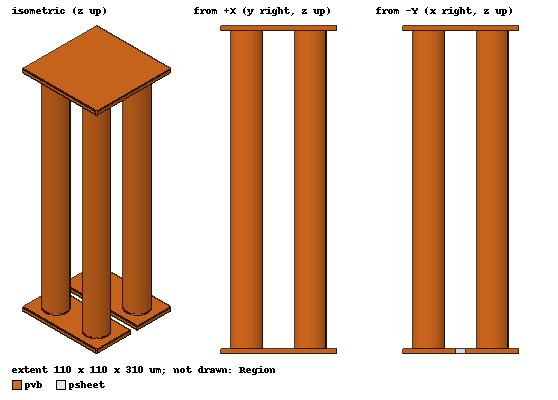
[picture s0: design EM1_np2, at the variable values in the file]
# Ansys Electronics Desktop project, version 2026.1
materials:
  vacuum: permittivity=1
  cu_src: permittivity=1 permeability=1 conductivity=58823529
  air: permittivity=1.0006 permeability=1.0000004
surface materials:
  Steel-oxidised-surface

design EM1_np2 (HFSS, HFSS Terminal Network, model units um)
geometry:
  vdd0 = cylinder(axis=Z, base_centre=(-30um, -30um, 0um), radius=15um, height=300um)
  gnd0 = cylinder(axis=Z, base_centre=(30um, -30um, 0um), radius=15um, height=300um)
  vdd1 = cylinder(axis=Z, base_centre=(-30um, 30um, 0um), radius=15um, height=300um)
  gnd1 = cylinder(axis=Z, base_centre=(30um, 30um, 0um), radius=15um, height=300um)
  pvb [cu_src, solve inside] = box(corner=(-55um, -55um, -5um), size=(50um, 110um, 5um))
  pgb = box(corner=(5um, -55um, -5um), size=(50um, 110um, 5um))
  short_top = box(corner=(-55um, -55um, 300um), size=(110um, 110um, 5um))
  pvb.unite(vdd0, vdd1, short_top, gnd0, gnd1, pgb)
  psheet = rectangle(corner=(-5um, 0um, -5um), z_size=5um, x_size=10um)
  Region [air] = region(percentage_offset: +X=300, -X=300, +Y=300, -Y=300, +Z=150, -Z=150)
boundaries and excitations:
  Rad__U516KB: Radiation Objects=Region
  p1: Lumped Port Objects=psheet LumpedPortType=Modal Modes{Mode1{IntLine{(-4.99um, 0um, -2.5um) -> (4.99um, 0um, -2.5um)} CharImp=Zpi}} Impedance=50ohm
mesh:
  mesh_cu: LengthBased RefineInside Objects=pvb MaxLength=7.5um
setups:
  s1: HfssDriven Frequency=1000MHz MaxDeltaS=0.02 MaximumPasses=8 MinimumPasses=1 MinimumConvergedPasses=1 PercentRefinement=30 BasisOrder=1 PortAccuracy=2 DrivenSolverType="Direct Solver"
    sweep sw: point 1MHz; point 3.1622777MHz; point 10MHz; point 31.622777MHz; point 100MHz; point 316.22777MHz; point 1000MHz; Type=Discrete SaveFields
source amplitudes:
  p1:1: 1V 0deg
